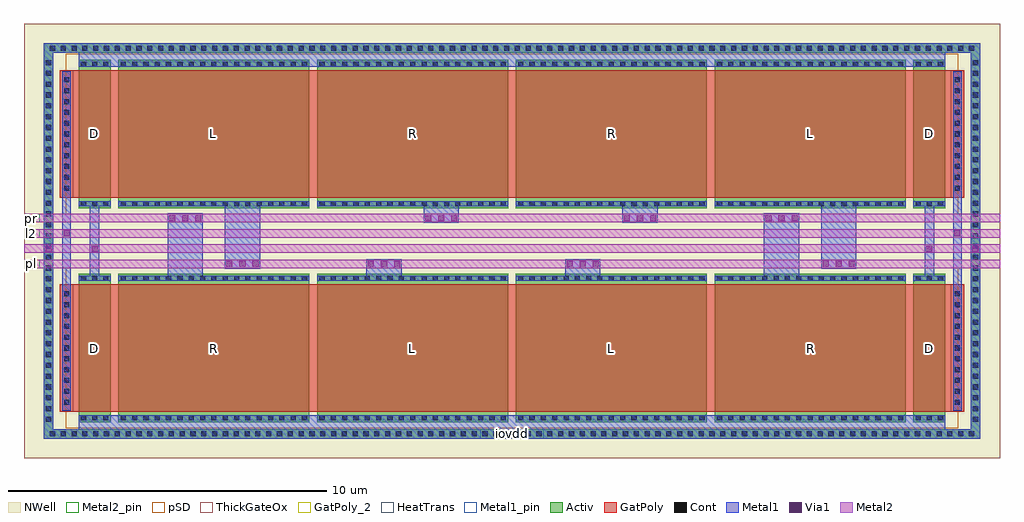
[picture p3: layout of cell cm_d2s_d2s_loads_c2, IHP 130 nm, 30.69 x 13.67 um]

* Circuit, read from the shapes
.subckt cm_d2s_d2s_loads_c2 iovdd l2 pl pr
XM1 iovdd l2 iovdd iovdd sg13_hv_pmos w=1u l=4u m=4
XM2 pr l2 iovdd iovdd sg13_hv_pmos w=6u l=4u m=4
XM3 iovdd l2 pl iovdd sg13_hv_pmos w=6u l=4u m=4
.ends

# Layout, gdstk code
from math import pi, radians
import gdstk
lib = gdstk.Library(unit=1e-6, precision=1e-09)
def R(c, l, rs):  # rectangles x0, y0, x1, y1
    for r in rs: c.add(gdstk.rectangle(r[:2], r[2:], *l))
def A(c, l, x, y, w, h, nx, ny, dx, dy):  # array of equal rectangles
    R(c, l, [(x+i*dx, y+j*dy, x+i*dx+w, y+j*dy+h) for i in range(nx) for j in range(ny)])
Activ = (1, 0)
GatPoly = (5, 0)
GatPoly_2 = (5, 2)
Cont = (6, 0)
Metal1 = (8, 0)
Metal1_pin = (8, 2)
Metal2 = (10, 0)
Metal2_pin = (10, 2)
pSD = (14, 0)
Via1 = (19, 0)
NWell = (31, 0)
ThickGateOx = (44, 0)
HeatTrans = (51, 0)

cm_d2s_pmoshv_w6_l4 = lib.new_cell('cm_d2s_pmosHV_w6_l4')
R(cm_d2s_pmoshv_w6_l4, Activ, [(0,0,0.3,0.3), (0,0,4.68,6), (4.38,0,4.68,0.3)])
R(cm_d2s_pmoshv_w6_l4, GatPoly, [(0.34,-0.18,4.34,6.18)])
R(cm_d2s_pmoshv_w6_l4, GatPoly_2, [(0.34,-0.18,4.34,6.18)])
A(cm_d2s_pmoshv_w6_l4, Cont, 0.07, 0.07, 0.16, 0.16, 1, 4, 0, 0.355)
A(cm_d2s_pmoshv_w6_l4, Cont, 4.45, 0.07, 0.16, 0.16, 1, 4, 0, 0.355)
A(cm_d2s_pmoshv_w6_l4, Cont, 0.07, 1.495, 0.16, 0.16, 1, 4, 0, 0.355)
A(cm_d2s_pmoshv_w6_l4, Cont, 4.45, 1.495, 0.16, 0.16, 1, 4, 0, 0.355)
A(cm_d2s_pmoshv_w6_l4, Cont, 0.07, 2.92, 0.16, 0.16, 1, 4, 0, 0.355)
A(cm_d2s_pmoshv_w6_l4, Cont, 4.45, 2.92, 0.16, 0.16, 1, 4, 0, 0.355)
A(cm_d2s_pmoshv_w6_l4, Cont, 0.07, 4.345, 0.16, 0.16, 1, 4, 0, 0.355)
A(cm_d2s_pmoshv_w6_l4, Cont, 4.45, 4.345, 0.16, 0.16, 1, 4, 0, 0.355)
R(cm_d2s_pmoshv_w6_l4, Cont, [(0.07,5.77,0.23,5.93), (4.45,5.77,4.61,5.93)])
R(cm_d2s_pmoshv_w6_l4, Metal1, [(0.07,0,0.23,6), (4.45,0,4.61,6)])
R(cm_d2s_pmoshv_w6_l4, Metal1_pin, [(0.07,0,0.23,6), (4.45,0,4.61,6)])
R(cm_d2s_pmoshv_w6_l4, pSD, [(-0.18,-0.4,4.86,6.4)])
R(cm_d2s_pmoshv_w6_l4, NWell, [(-0.62,-0.62,5.3,6.62)])
R(cm_d2s_pmoshv_w6_l4, ThickGateOx, [(-0.62,-0.62,5.3,6.62)])
R(cm_d2s_pmoshv_w6_l4, HeatTrans, [(0.34,-0.18,4.34,6.18)])
cm_d2s_pmoshv_w6_l4.add(gdstk.Label('pmosHV', (2.34,3), layer=63, texttype=0))
cm_d2s_pmoshv_w6_l4.add(gdstk.Label('pmos', (2.34,3), layer=51, texttype=0))

cm_d2s_pmoshv_w1_l4 = lib.new_cell('cm_d2s_pmosHV_w1_l4')
R(cm_d2s_pmoshv_w1_l4, Activ, [(0,0,0.3,0.3), (0,0,4.68,1), (4.38,0,4.68,0.3)])
R(cm_d2s_pmoshv_w1_l4, GatPoly, [(0.34,-0.18,4.34,1.18)])
R(cm_d2s_pmoshv_w1_l4, GatPoly_2, [(0.34,-0.18,4.34,1.18)])
A(cm_d2s_pmoshv_w1_l4, Cont, 0.07, 0.07, 0.16, 0.16, 1, 3, 0, 0.35)
A(cm_d2s_pmoshv_w1_l4, Cont, 4.45, 0.07, 0.16, 0.16, 1, 3, 0, 0.35)
R(cm_d2s_pmoshv_w1_l4, Metal1, [(0.07,0,0.23,1), (4.45,0,4.61,1)])
R(cm_d2s_pmoshv_w1_l4, Metal1_pin, [(0.07,0,0.23,1), (4.45,0,4.61,1)])
R(cm_d2s_pmoshv_w1_l4, pSD, [(-0.18,-0.4,4.86,1.4)])
R(cm_d2s_pmoshv_w1_l4, NWell, [(-0.62,-0.62,5.3,1.62)])
R(cm_d2s_pmoshv_w1_l4, ThickGateOx, [(-0.62,-0.62,5.3,1.62)])
R(cm_d2s_pmoshv_w1_l4, HeatTrans, [(0.34,-0.18,4.34,1.18)])
cm_d2s_pmoshv_w1_l4.add(gdstk.Label('pmosHV', (2.34,0.5), layer=63, texttype=0))
cm_d2s_pmoshv_w1_l4.add(gdstk.Label('pmos', (2.34,0.5), layer=51, texttype=0))

cm_d2s_d2s_loads_c2 = lib.new_cell('cm_d2s_d2s_loads_c2')
R(cm_d2s_d2s_loads_c2, Activ, [(0.62,0.62,30.07,0.92), (0.62,0.92,0.92,12.75), (29.77,0.92,30.07,12.75), (0.62,12.75,30.07,13.05)])
R(cm_d2s_d2s_loads_c2, GatPoly, [(1.12,1.47,1.72,5.47), (28.97,1.47,29.57,5.47), (1.12,8.2,1.72,12.2), (28.97,8.2,29.57,12.2)])
A(cm_d2s_d2s_loads_c2, Cont, 0.815, 0.69, 0.16, 0.16, 86, 2, 0.34, 12.13)
A(cm_d2s_d2s_loads_c2, Cont, 0.69, 1.145, 0.16, 0.16, 1, 34, 0, 0.34)
A(cm_d2s_d2s_loads_c2, Cont, 29.84, 1.145, 0.16, 0.16, 1, 34, 0, 0.34)
A(cm_d2s_d2s_loads_c2, Cont, 1.26, 1.69, 0.16, 0.16, 1, 11, 0, 0.34)
A(cm_d2s_d2s_loads_c2, Cont, 29.27, 1.69, 0.16, 0.16, 1, 11, 0, 0.34)
A(cm_d2s_d2s_loads_c2, Cont, 1.26, 8.42, 0.16, 0.16, 1, 11, 0, 0.34)
A(cm_d2s_d2s_loads_c2, Cont, 29.27, 8.42, 0.16, 0.16, 1, 11, 0, 0.34)
R(cm_d2s_d2s_loads_c2, Metal1, [(0.62,0.62,30.07,0.92), (1.72,0.62,28.97,1.36), (0.62,0.92,0.92,12.75), (29.77,0.92,30.07,12.75), (1.21,1.49,1.47,5.45), (1.21,1.49,1.47,12.18), (29.22,1.49,29.48,5.45), (29.22,1.49,29.48,12.18), (2.075,5.58,2.365,8.09), (4.515,5.58,5.625,7.7), (10.765,5.58,11.875,6.26), (17.015,5.58,18.125,6.26), (23.265,5.58,24.375,7.7), (28.325,5.58,28.615,8.09), (6.315,5.97,7.425,8.09), (25.065,5.97,26.175,8.09), (12.565,7.41,13.675,8.09), (18.815,7.41,19.925,8.09), (1.21,8.22,1.47,12.18), (29.22,8.22,29.48,12.18), (1.72,12.31,28.97,13.05), (0.62,12.75,30.07,13.05)])
R(cm_d2s_d2s_loads_c2, Metal1_pin, [(14.345,0.62,16.345,0.92)])
A(cm_d2s_d2s_loads_c2, Metal2, 0, 5.985, 30.69, 0.26, 1, 4, 0, 0.48)
R(cm_d2s_d2s_loads_c2, Metal2_pin, [(0,5.985,0.5,6.245), (0,6.945,0.5,7.205), (0,7.425,0.5,7.685)])
A(cm_d2s_d2s_loads_c2, Via1, 6.365, 6.02, 0.19, 0.19, 3, 1, 0.41, 0)
A(cm_d2s_d2s_loads_c2, Via1, 10.815, 6.02, 0.19, 0.19, 3, 1, 0.41, 0)
A(cm_d2s_d2s_loads_c2, Via1, 17.065, 6.02, 0.19, 0.19, 3, 1, 0.41, 0)
A(cm_d2s_d2s_loads_c2, Via1, 25.115, 6.02, 0.19, 0.19, 3, 1, 0.41, 0)
A(cm_d2s_d2s_loads_c2, Via1, 4.565, 7.46, 0.19, 0.19, 3, 1, 0.41, 0)
A(cm_d2s_d2s_loads_c2, Via1, 12.615, 7.46, 0.19, 0.19, 3, 1, 0.41, 0)
A(cm_d2s_d2s_loads_c2, Via1, 18.865, 7.46, 0.19, 0.19, 3, 1, 0.41, 0)
A(cm_d2s_d2s_loads_c2, Via1, 23.315, 7.46, 0.19, 0.19, 3, 1, 0.41, 0)
R(cm_d2s_d2s_loads_c2, Via1, [(0.675,6.5,0.865,6.69), (2.125,6.5,2.315,6.69), (28.375,6.5,28.565,6.69), (29.825,6.5,30.015,6.69), (1.245,6.98,1.435,7.17), (29.255,6.98,29.445,7.17)])
R(cm_d2s_d2s_loads_c2, NWell, [(0,0,30.69,13.67)])
R(cm_d2s_d2s_loads_c2, ThickGateOx, [(0,0,30.69,13.67)])
cm_d2s_d2s_loads_c2.add(gdstk.Reference(cm_d2s_pmoshv_w6_l4, (8.97,1.13), rotation=pi/2))
cm_d2s_d2s_loads_c2.add(gdstk.Reference(cm_d2s_pmoshv_w6_l4, (15.22,1.13), rotation=pi/2))
cm_d2s_d2s_loads_c2.add(gdstk.Reference(cm_d2s_pmoshv_w6_l4, (15.47,12.54), rotation=3*pi/2))
cm_d2s_d2s_loads_c2.add(gdstk.Reference(cm_d2s_pmoshv_w6_l4, (21.72,12.54), rotation=3*pi/2))
cm_d2s_d2s_loads_c2.add(gdstk.Reference(cm_d2s_pmoshv_w6_l4, (15.47,1.13), rotation=pi/2, x_reflection=True))
cm_d2s_d2s_loads_c2.add(gdstk.Reference(cm_d2s_pmoshv_w6_l4, (21.72,1.13), rotation=pi/2, x_reflection=True))
cm_d2s_d2s_loads_c2.add(gdstk.Reference(cm_d2s_pmoshv_w6_l4, (8.97,12.54), rotation=3*pi/2, x_reflection=True))
cm_d2s_d2s_loads_c2.add(gdstk.Reference(cm_d2s_pmoshv_w6_l4, (15.22,12.54), rotation=3*pi/2, x_reflection=True))
cm_d2s_d2s_loads_c2.add(gdstk.Reference(cm_d2s_pmoshv_w1_l4, (2.72,1.13), rotation=pi/2))
cm_d2s_d2s_loads_c2.add(gdstk.Reference(cm_d2s_pmoshv_w1_l4, (27.97,12.54), rotation=3*pi/2))
cm_d2s_d2s_loads_c2.add(gdstk.Reference(cm_d2s_pmoshv_w1_l4, (27.97,1.13), rotation=pi/2, x_reflection=True))
cm_d2s_d2s_loads_c2.add(gdstk.Reference(cm_d2s_pmoshv_w1_l4, (2.72,12.54), rotation=3*pi/2, x_reflection=True))
cm_d2s_d2s_loads_c2.add(gdstk.Label('D', (2.22,3.47), layer=63, texttype=0))
cm_d2s_d2s_loads_c2.add(gdstk.Label('R', (5.97,3.47), layer=63, texttype=0))
cm_d2s_d2s_loads_c2.add(gdstk.Label('L', (12.22,3.47), layer=63, texttype=0))
cm_d2s_d2s_loads_c2.add(gdstk.Label('L', (18.47,3.47), layer=63, texttype=0))
cm_d2s_d2s_loads_c2.add(gdstk.Label('R', (24.72,3.47), layer=63, texttype=0))
cm_d2s_d2s_loads_c2.add(gdstk.Label('D', (28.47,3.47), layer=63, texttype=0))
cm_d2s_d2s_loads_c2.add(gdstk.Label('D', (2.22,10.2), layer=63, texttype=0))
cm_d2s_d2s_loads_c2.add(gdstk.Label('L', (5.97,10.2), layer=63, texttype=0))
cm_d2s_d2s_loads_c2.add(gdstk.Label('R', (12.22,10.2), layer=63, texttype=0))
cm_d2s_d2s_loads_c2.add(gdstk.Label('R', (18.47,10.2), layer=63, texttype=0))
cm_d2s_d2s_loads_c2.add(gdstk.Label('L', (24.72,10.2), layer=63, texttype=0))
cm_d2s_d2s_loads_c2.add(gdstk.Label('D', (28.47,10.2), layer=63, texttype=0))
cm_d2s_d2s_loads_c2.add(gdstk.Label('pl', (0.25,6.115), layer=10, texttype=25))
cm_d2s_d2s_loads_c2.add(gdstk.Label('l2', (0.25,7.075), layer=10, texttype=25))
cm_d2s_d2s_loads_c2.add(gdstk.Label('pr', (0.25,7.555), layer=10, texttype=25))
cm_d2s_d2s_loads_c2.add(gdstk.Label('iovdd', (15.345,0.77), layer=8, texttype=25))

lib.write_gds('cm_d2s_d2s_loads_c2.gds')
